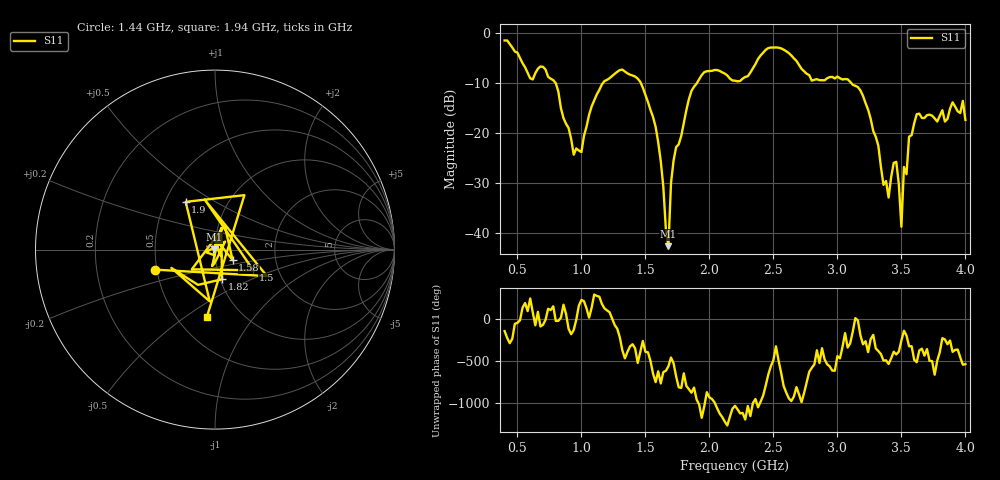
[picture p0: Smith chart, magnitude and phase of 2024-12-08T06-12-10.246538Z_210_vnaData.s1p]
!Created with skrf (http://scikit-rf.org).
# Hz S RI R 50.0
!freq ReS11 ImS11
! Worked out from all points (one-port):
!   181 points, 400 MHz to 4 GHz, reference 50 ohm
!   lowest |S11| = -42.7 dB at 1.68 GHz (marker M1), VSWR 1.01, Z = 49.3 + j0.259 ohm
!   |S11| at or under -10 dB: 798.4 MHz to 1.169 GHz (370.4 MHz wide, 37.7 % of centre); 1.464 GHz to 1.903 GHz (438.7 MHz wide, 26.1 % of centre); 3.108 GHz to end of sweep
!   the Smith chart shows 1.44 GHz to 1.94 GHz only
!   S11 on the Smith chart (normalised r, x): 1.44 GHz: 0.49, -0.13; 1.5 GHz: 1.49, -0.36; 1.58 GHz: 1.21, -0.14; 1.82 GHz: 1.02, -0.35; 1.9 GHz: 0.63, +0.37; 1.94 GHz: 0.69, -0.61
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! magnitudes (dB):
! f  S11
! 400 MHz  -1.5
! 720 MHz  -7.3
! 860 MHz  -17.0
! 1 GHz  -23.8
! 1.12 GHz  -12.3
! 1.3 GHz  -7.4
! 1.44 GHz  -9.1
! 1.5 GHz  -12.3
! 1.58 GHz  -18.8
! 1.68 GHz  -42.7
! 1.7 GHz  -30.0
! 1.76 GHz  -22.3
! 1.82 GHz  -15.4
! 1.9 GHz  -10.1
! 1.94 GHz  -8.4
! 2.2 GHz  -9.5
! 2.46 GHz  -3.0
! 2.66 GHz  -5.1
! 3.1 GHz  -9.8
! 3.24 GHz  -15.3
! 3.4 GHz  -32.9
! 3.46 GHz  -25.8
! 3.5 GHz  -38.8
! 3.52 GHz  -26.8
! 3.54 GHz  -28.2
! 3.56 GHz  -20.7
! 3.9 GHz  -13.9
! 4 GHz  -17.4
